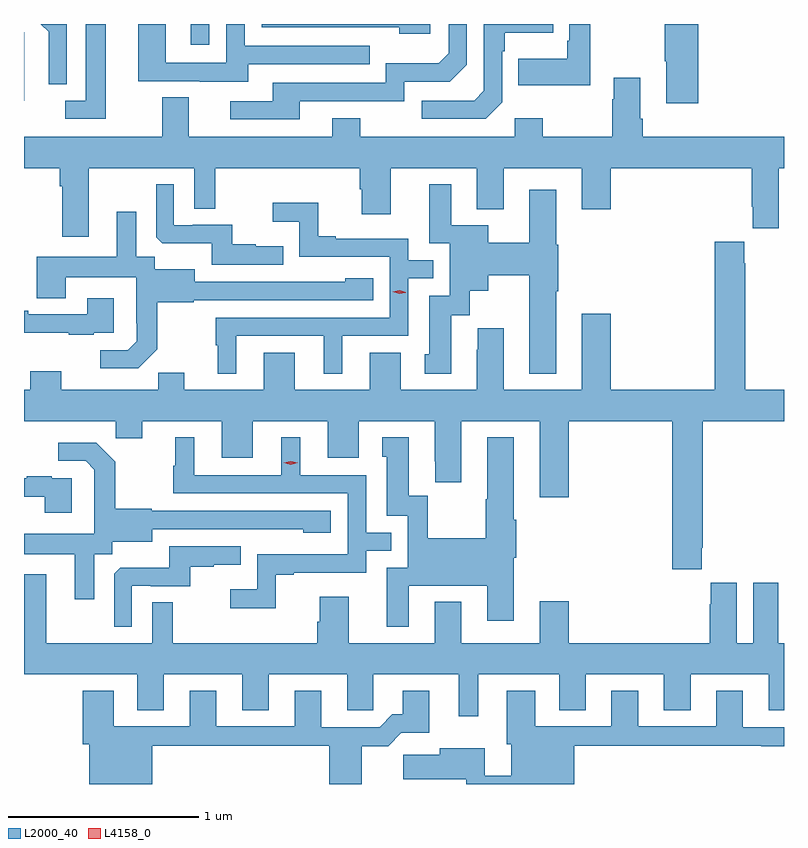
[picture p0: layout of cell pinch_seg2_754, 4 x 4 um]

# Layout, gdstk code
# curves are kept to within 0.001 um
import gdstk
lib = gdstk.Library(unit=1e-6, precision=1e-09)
def R(c, l, rs):  # rectangles x0, y0, x1, y1
    for r in rs: c.add(gdstk.rectangle(r[:2], r[2:], *l))
def P(c, l, *ps):  # polygons
    for p in ps: c.add(gdstk.Polygon(p, *l))
L2000_40 = (2000, 40)
L4158_0 = (4158, 0)

pinch_seg2_754 = lib.new_cell('pinch_seg2_754')
R(pinch_seg2_754, L2000_40, [(732.489,662.642,732.49,663.003), (733.367,662.937,733.464,663.046)])
P(pinch_seg2_754, L2000_40, [(736.037,663.046),(735.862,663.046),(735.862,662.851),(735.869,662.851),(735.869,662.628),(736.037,662.628)],
  [(733.939,662.64),(734.49,662.64),(734.49,662.742),(734.73,662.742),(734.82,662.832),(734.82,663.046),(734.724,663.046),(734.724,662.892),(734.671,662.839),(734.394,662.839),(734.394,662.736),(733.799,662.736),(733.799,662.64),(733.575,662.64),(733.575,662.544),(733.939,662.544)],
  [(735.006,662.634),(735.006,662.903),(735.019,662.903),(735.019,662.999),(735.275,662.999),(735.275,663.046),(734.91,663.046),(734.91,662.694),(734.859,662.643),(734.583,662.643),(734.583,662.547),(734.919,662.547)],
  [(735.469,663.046),(735.36,663.046),(735.36,662.959),(735.348,662.959),(735.348,662.863),(735.091,662.863),(735.091,662.723),(735.469,662.723)],
  [(733.669,662.835),(734.309,662.835),(734.309,662.931),(733.65,662.931),(733.65,663.046),(733.554,663.046),(733.554,662.841),(733.236,662.841),(733.236,663.046),(733.091,663.046),(733.091,662.745),(733.415,662.745),(733.415,662.741),(733.669,662.741)],
  [(732.919,663.046),(732.815,663.046),(732.815,662.643),(732.705,662.643),(732.705,662.547),(732.919,662.547)],
  [(734.626,663.046),(733.74,663.046),(733.74,663.03),(734.465,663.03),(734.465,662.996),(734.626,662.996)],
  [(732.714,663.046),(732.578,663.046),(732.62,663.005),(732.62,662.882),(732.618,662.882),(732.618,662.728),(732.714,662.728)],
  [(733.357,662.66),(733.217,662.66),(733.217,662.452),(732.489,662.452),(732.489,662.288),(732.677,662.288),(732.677,662.192),(732.689,662.192),(732.689,661.926),(732.829,661.926),(732.829,662.288),(733.386,662.288),(733.386,662.074),(733.495,662.074),(733.495,662.288),(734.255,662.288),(734.255,662.175),(734.267,662.175),(734.267,662.046),(734.419,662.046),(734.419,662.288),(734.873,662.288),(734.873,662.072),(735.013,662.072),(735.013,662.288),(735.425,662.288),(735.425,662.07),(735.578,662.07),(735.578,662.288),(736.319,662.288),(736.319,662.083),(736.325,662.083),(736.325,661.971),(736.462,661.971),(736.462,662.288),(736.489,662.288),(736.489,662.452),(735.746,662.452),(735.746,662.548),(735.733,662.548),(735.733,662.764),(735.593,662.764),(735.593,662.651),(735.586,662.651),(735.586,662.452),(735.219,662.452),(735.219,662.551),(735.072,662.551),(735.072,662.452),(734.259,662.452),(734.259,662.551),(734.111,662.551),(734.111,662.452),(733.357,662.452)],
  [(733.853,661.876),(733.709,661.876),(733.709,661.888),(733.586,661.888),(733.586,661.989),(733.378,661.989),(733.378,661.986),(733.278,661.986),(733.278,662.203),(733.185,662.203),(733.185,661.923),(733.217,661.892),(733.476,661.892),(733.476,661.779),(733.853,661.779)],
  [(735.289,661.64),(735.302,661.64),(735.302,661.884),(735.289,661.884),(735.289,662.173),(735.149,662.173),(735.149,661.896),(734.932,661.896),(734.932,661.987),(734.737,661.987),(734.737,662.203),(734.621,662.203),(734.621,661.893),(734.73,661.893),(734.73,661.617),(734.621,661.617),(734.621,661.308),(734.597,661.308),(734.597,661.206),(734.737,661.206),(734.737,661.514),(734.835,661.514),(734.835,661.643),(734.932,661.643),(734.932,661.724),(735.149,661.724),(735.149,661.205),(735.289,661.205)],
  [(733.606,661.404),(734.066,661.404),(734.066,661.205),(734.164,661.205),(734.164,661.404),(734.511,661.404),(734.511,661.707),(734.644,661.707),(734.644,661.803),(734.511,661.803),(734.511,661.917),(734.131,661.917),(734.131,661.93),(734.037,661.93),(734.037,662.105),(733.797,662.105),(733.797,662.006),(733.938,662.006),(733.938,661.821),(734.415,661.821),(734.415,661.5),(733.497,661.5),(733.497,661.356),(733.508,661.356),(733.508,661.205),(733.606,661.205)],
  [(733.191,661.335),(733.191,661.581),(733.383,661.581),(733.383,661.593),(734.326,661.593),(734.326,661.708),(734.181,661.708),(734.181,661.69),(733.387,661.689),(733.387,661.756),(733.176,661.756),(733.176,661.82),(733.081,661.82),(733.081,662.059),(732.977,662.059),(732.977,661.822),(732.557,661.822),(732.557,661.603),(732.709,661.603),(732.709,661.712),(733.08,661.712),(733.08,661.471),(733.082,661.471),(733.082,661.376),(733.035,661.329),(732.891,661.329),(732.891,661.235),(733.091,661.235)],
  [(735.578,661.522),(735.425,661.522),(735.425,661.12),(735.013,661.12),(735.013,661.444),(734.876,661.444),(734.876,661.331),(734.873,661.331),(734.873,661.12),(734.473,661.12),(734.473,661.315),(734.309,661.315),(734.309,661.12),(733.915,661.12),(733.915,661.315),(733.751,661.315),(733.751,661.12),(733.333,661.12),(733.333,661.211),(733.195,661.211),(733.195,661.12),(732.685,661.12),(732.685,661.219),(732.521,661.219),(732.521,661.12),(732.489,661.12),(732.489,660.956),(732.973,660.956),(732.973,660.866),(733.111,660.866),(733.111,660.956),(733.529,660.956),(733.529,660.762),(733.693,660.762),(733.693,660.956),(734.087,660.956),(734.087,660.762),(734.251,660.762),(734.251,660.956),(734.651,660.956),(734.651,660.745),(734.654,660.745),(734.654,660.633),(734.791,660.633),(734.791,660.956),(735.203,660.956),(735.203,660.555),(735.356,660.555),(735.356,660.956),(735.902,660.956),(735.902,660.177),(736.057,660.177),(736.057,660.289),(736.062,660.289),(736.062,660.956),(736.489,660.956),(736.489,661.12),(736.284,661.12),(736.284,661.787),(736.279,661.787),(736.279,661.9),(736.124,661.9),(736.124,661.12),(735.578,661.12)],
  [(732.857,661.422),(732.961,661.422),(732.961,661.603),(732.821,661.603),(732.821,661.518),(732.511,661.518),(732.511,661.537),(732.489,661.537),(732.489,661.421),(732.725,661.421),(732.725,661.41),(732.857,661.41)],
  [(734.515,660.089),(734.927,660.089),(734.927,659.904),(735.067,659.904),(735.067,660.236),(735.08,660.236),(735.08,660.436),(735.067,660.436),(735.067,660.871),(734.927,660.871),(734.927,660.545),(734.92,660.545),(734.92,660.34),(734.613,660.34),(734.613,660.563),(734.515,660.563),(734.515,660.871),(734.375,660.871),(734.375,660.768),(734.399,660.768),(734.399,660.459),(734.508,660.459),(734.508,660.183),(734.399,660.183),(734.399,659.874),(734.515,659.874)],
  [(733.815,660.147),(733.909,660.147),(733.909,660.159),(734.289,660.159),(734.289,660.273),(734.423,660.273),(734.423,660.369),(734.289,660.369),(734.289,660.672),(733.942,660.672),(733.942,660.871),(733.844,660.871),(733.844,660.672),(733.384,660.672),(733.384,660.871),(733.286,660.871),(733.286,660.72),(733.275,660.72),(733.275,660.576),(734.193,660.576),(734.193,660.255),(733.716,660.255),(733.716,660.07),(733.575,660.07),(733.575,659.972),(733.815,659.972)],
  [(732.859,660.256),(732.954,660.256),(732.954,660.32),(733.165,660.32),(733.165,660.387),(733.959,660.386),(733.959,660.368),(734.104,660.368),(734.104,660.483),(733.161,660.483),(733.161,660.496),(732.969,660.496),(732.969,660.741),(732.869,660.841),(732.669,660.841),(732.669,660.747),(732.813,660.747),(732.86,660.7),(732.86,660.605),(732.858,660.605),(732.858,660.364),(732.489,660.364),(732.489,660.254),(732.755,660.254),(732.755,660.018),(732.859,660.018)],
  [(732.739,660.654),(732.635,660.654),(732.635,660.667),(732.503,660.667),(732.503,660.656),(732.489,660.656),(732.489,660.558),(732.599,660.558),(732.599,660.474),(732.739,660.474)],
  [(733.056,660.09),(733.156,660.09),(733.156,660.087),(733.364,660.087),(733.364,660.189),(733.487,660.189),(733.487,660.2),(733.631,660.2),(733.631,660.297),(733.254,660.297),(733.254,660.185),(732.995,660.185),(732.963,660.153),(732.963,659.873),(733.056,659.873)],
  [(734.881,659.624),(735.305,659.624),(735.305,659.434),(735.445,659.434),(735.445,659.624),(735.857,659.624),(735.857,659.434),(735.997,659.434),(735.997,659.624),(736.409,659.624),(736.409,659.434),(736.489,659.434),(736.489,659.788),(736.459,659.788),(736.459,660.106),(736.328,660.106),(736.328,659.788),(736.24,659.788),(736.24,660.106),(736.103,660.106),(736.103,659.993),(736.097,659.993),(736.097,659.788),(735.356,659.788),(735.356,660.007),(735.203,660.007),(735.203,659.788),(734.791,659.788),(734.791,660.004),(734.651,660.004),(734.651,659.788),(734.197,659.788),(734.197,660.031),(734.045,660.031),(734.045,659.901),(734.033,659.901),(734.033,659.788),(733.273,659.788),(733.273,660.002),(733.164,660.002),(733.164,659.788),(732.607,659.788),(732.607,660.151),(732.489,660.151),(732.489,659.624),(733.085,659.624),(733.085,659.434),(733.225,659.434),(733.225,659.624),(733.637,659.624),(733.637,659.434),(733.777,659.434),(733.777,659.624),(734.189,659.624),(734.189,659.434),(734.328,659.434),(734.328,659.624),(734.777,659.624),(734.777,659.403),(734.881,659.403)],
  [(733.165,659.248),(734.096,659.248),(734.096,659.046),(734.266,659.046),(734.266,659.246),(734.405,659.246),(734.474,659.315),(734.623,659.315),(734.623,659.536),(734.483,659.536),(734.483,659.413),(734.428,659.413),(734.361,659.346),(734.053,659.346),(734.053,659.536),(733.913,659.536),(733.913,659.349),(733.501,659.349),(733.501,659.536),(733.361,659.536),(733.361,659.349),(732.961,659.349),(732.961,659.536),(732.797,659.536),(732.797,659.256),(732.833,659.256),(732.833,659.046),(733.165,659.046)],
  [(735.385,659.248),(736.369,659.248),(736.369,659.246),(736.489,659.246),(736.489,659.346),(736.273,659.346),(736.273,659.536),(736.133,659.536),(736.133,659.349),(735.721,659.349),(735.721,659.536),(735.581,659.536),(735.581,659.349),(735.181,659.349),(735.181,659.536),(735.029,659.536),(735.029,659.256),(735.053,659.256),(735.053,659.089),(734.914,659.089),(734.914,659.233),(734.678,659.233),(734.678,659.201),(734.484,659.201),(734.484,659.072),(734.816,659.072),(734.816,659.046),(735.385,659.046)])
P(pinch_seg2_754, L4158_0, [(733.893,660.726),(733.857,660.736),(733.857,660.736),(733.857,660.736),(733.893,660.746),(733.929,660.736),(733.929,660.736),(733.929,660.736)],
  [(734.464,661.625),(734.431,661.637),(734.43,661.637),(734.431,661.637),(734.466,661.645),(734.499,661.633),(734.499,661.632),(734.499,661.632)])

lib.write_gds('pinch_seg2_754.gds')
